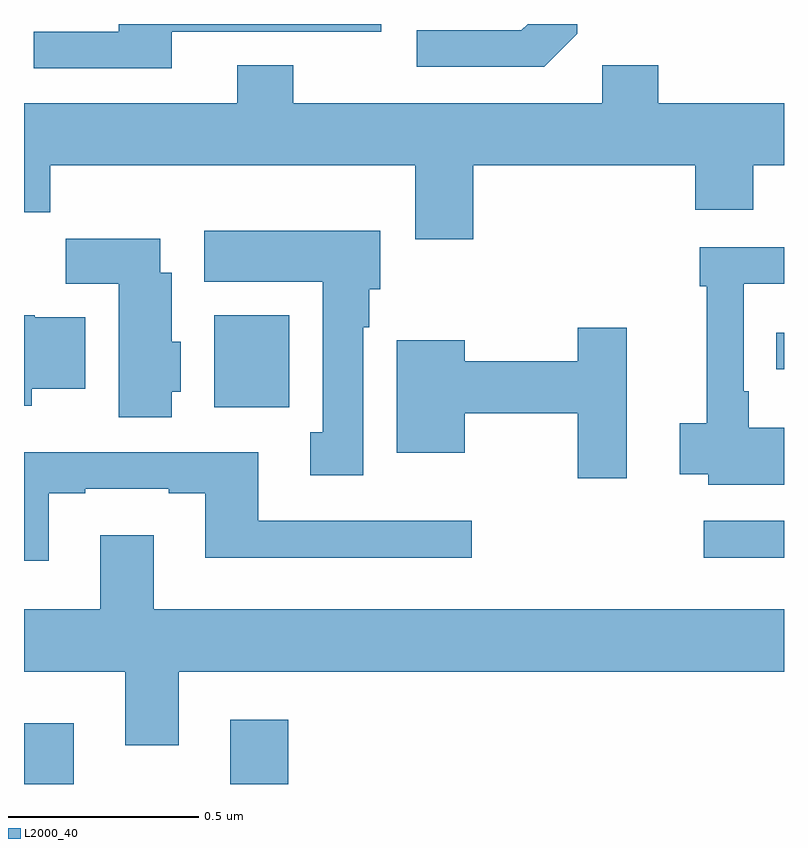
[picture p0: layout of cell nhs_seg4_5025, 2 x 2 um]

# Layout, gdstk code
import gdstk
lib = gdstk.Library(unit=1e-6, precision=1e-09)
def R(c, l, rs):  # rectangles x0, y0, x1, y1
    for r in rs: c.add(gdstk.rectangle(r[:2], r[2:], *l))
def P(c, l, *ps):  # polygons
    for p in ps: c.add(gdstk.Polygon(p, *l))
L2000_40 = (2000, 40)

nhs_seg4_5025 = lib.new_cell('nhs_seg4_5025')
R(nhs_seg4_5025, L2000_40, [(173,753.9,173.131,754.06), (173.543,753.9,173.696,754.069), (174.789,754.496,175,754.593), (173.501,754.892,173.698,755.134), (174.979,754.991,175,755.088)])
P(nhs_seg4_5025, L2000_40, [(174.456,755.874),(174.456,755.9),(174.326,755.9),(174.309,755.883),(174.033,755.883),(174.033,755.787),(174.369,755.787)],
  [(173.389,755.88),(173.94,755.88),(173.94,755.9),(173.249,755.9),(173.249,755.88),(173.025,755.88),(173.025,755.784),(173.389,755.784)],
  [(174.182,755.528),(174.767,755.528),(174.767,755.411),(174.919,755.411),(174.919,755.528),(175,755.528),(175,755.692),(174.669,755.692),(174.669,755.791),(174.522,755.791),(174.522,755.692),(173.709,755.692),(173.709,755.791),(173.561,755.791),(173.561,755.692),(173,755.692),(173,755.404),(173.069,755.404),(173.069,755.528),(174.029,755.528),(174.029,755.334),(174.182,755.334)],
  [(173.893,755.102),(173.908,755.102),(173.908,755.202),(173.938,755.202),(173.938,755.356),(173.474,755.356),(173.474,755.222),(173.786,755.222),(173.786,754.826),(173.753,754.826),(173.753,754.713),(173.893,754.713)],
  [(173.389,754.932),(173.413,754.932),(173.413,755.064),(173.389,755.064),(173.389,755.245),(173.359,755.245),(173.359,755.335),(173.11,755.335),(173.11,755.216),(173.249,755.216),(173.249,754.865),(173.389,754.865)],
  [(175,754.837),(174.907,754.837),(174.907,754.933),(174.894,754.933),(174.894,755.217),(175,755.217),(175,755.313),(174.778,755.313),(174.778,755.21),(174.797,755.21),(174.797,754.85),(174.725,754.85),(174.725,754.715),(174.801,754.715),(174.801,754.688),(175,754.688)],
  [(173.02,754.94),(173.161,754.94),(173.161,755.128),(173.028,755.128),(173.028,755.134),(173,755.134),(173,754.896),(173.02,754.896)],
  [(174.586,755.101),(174.457,755.101),(174.457,755.012),(174.16,755.012),(174.16,755.068),(173.981,755.068),(173.981,754.772),(174.16,754.772),(174.16,754.876),(174.457,754.876),(174.457,754.704),(174.586,754.704)],
  [(173.065,754.665),(173.161,754.665),(173.161,754.677),(173.381,754.677),(173.381,754.665),(173.477,754.665),(173.477,754.496),(174.178,754.496),(174.178,754.593),(173.617,754.593),(173.617,754.773),(173,754.773),(173,754.488),(173.065,754.488)],
  [(173.407,754.196),(175,754.196),(175,754.36),(173.341,754.36),(173.341,754.555),(173.201,754.555),(173.201,754.36),(173,754.36),(173,754.196),(173.267,754.196),(173.267,754.002),(173.407,754.002)])

lib.write_gds('nhs_seg4_5025.gds')
